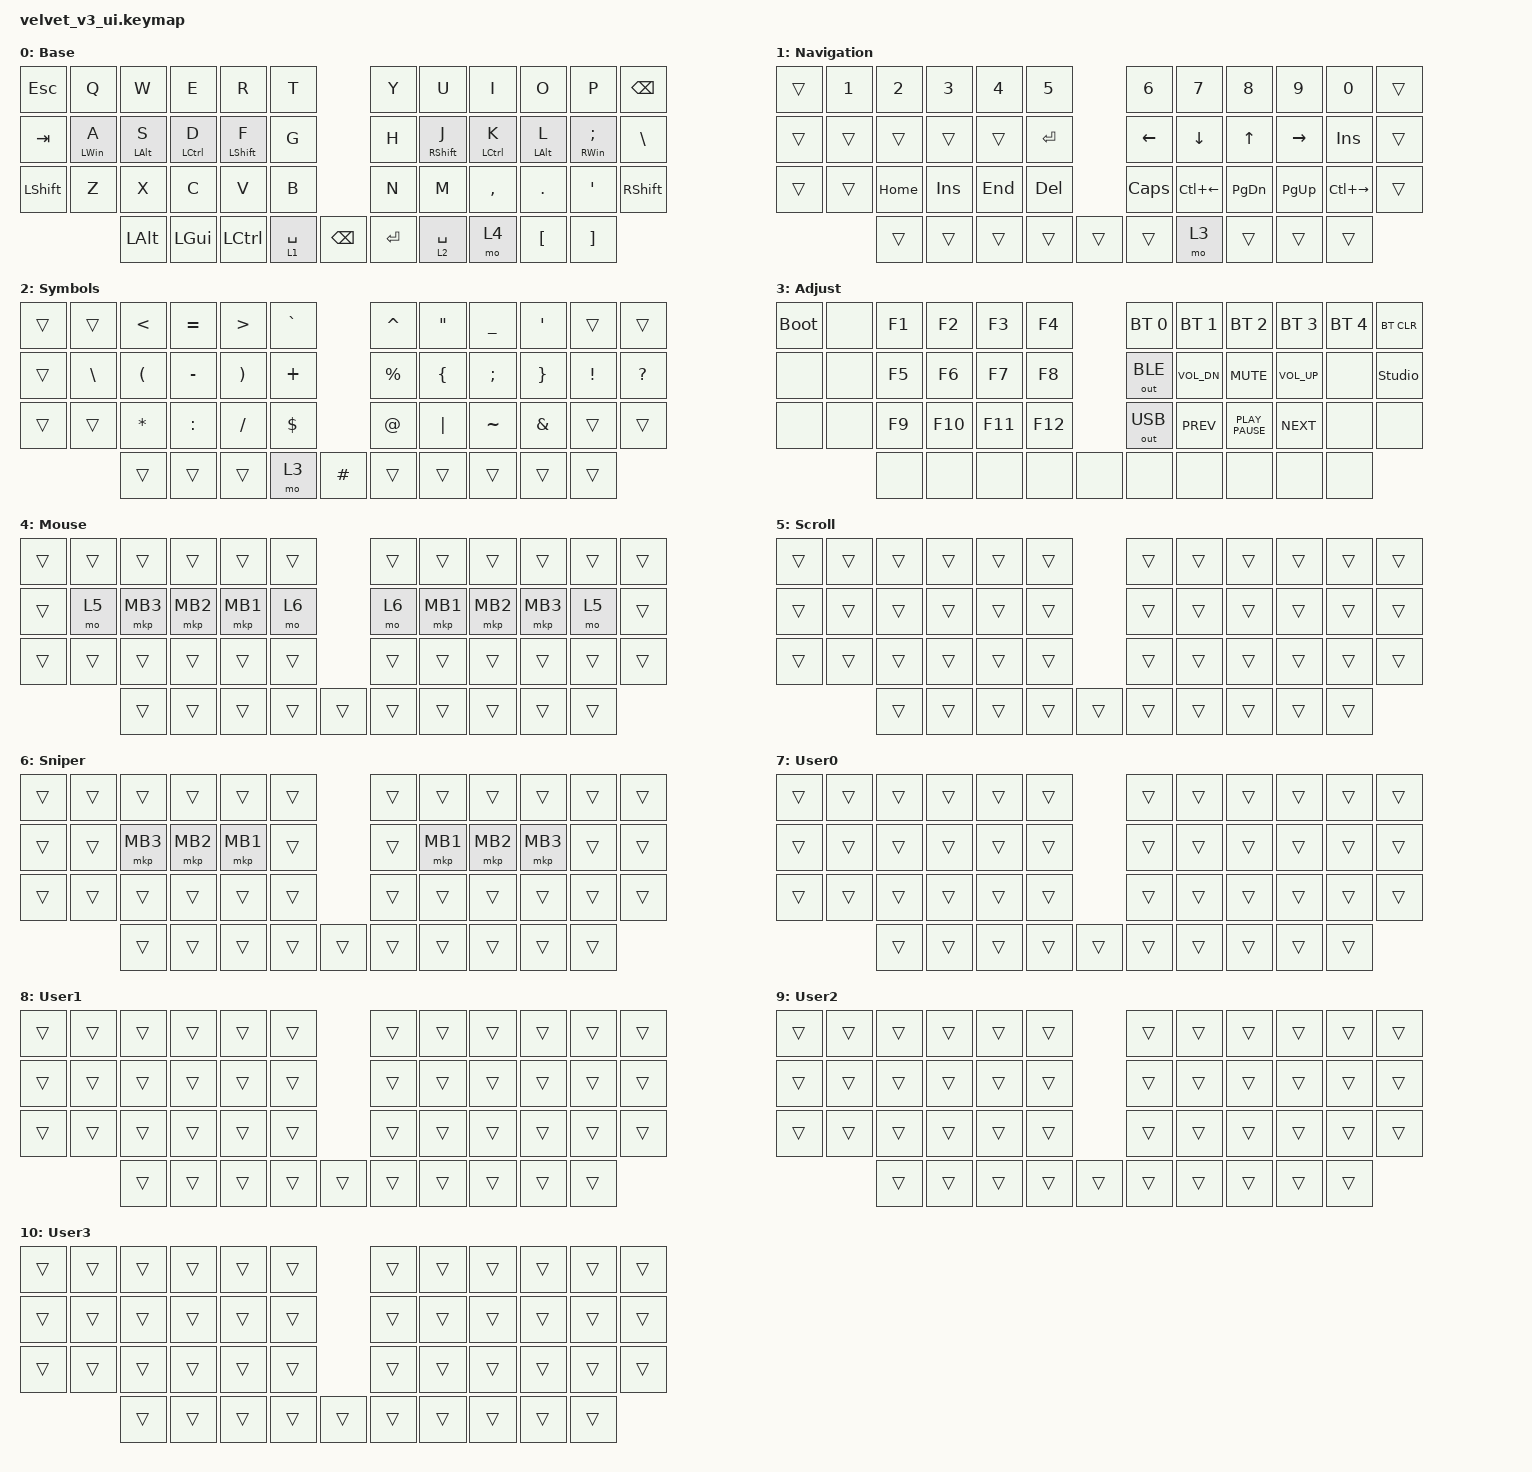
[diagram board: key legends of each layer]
#include "keys_ru.h"
#include <dt-bindings/zmk/input_transform.h>
#include <input/processors.dtsi>
#include <zephyr/dt-bindings/input/input-event-codes.h>
#include <behaviors.dtsi>
#include <dt-bindings/zmk/bt.h>
#include <dt-bindings/zmk/keys.h>
#include <dt-bindings/zmk/outputs.h>
#include <dt-bindings/zmk/pointing.h>

/ {
    behaviors {
        cap_sen: cap_sen {
            compatible = "zmk,behavior-hold-tap";
            label = "CAP_SEN";
            bindings = <&mo>, <&mkp>;

            #binding-cells = <2>;
            tapping-term-ms = <150>;
            hold-while-undecided;
        };

        hml: home_row_mod_left {
            compatible = "zmk,behavior-hold-tap";
            label = "HML";
            bindings = <&kp>, <&kp>;

            #binding-cells = <2>;
            tapping-term-ms = <280>;
            quick-tap-ms = <175>;
            require-prior-idle-ms = <150>;
            flavor = "balanced";
            hold-trigger-key-positions = <6 8 7 19 18 30 31 32 20 44 45 33 21 9 10 22 34 35 23 11 41 42 43>;
            hold-trigger-on-release;
        };

        hmr: home_row_mod_right {
            compatible = "zmk,behavior-hold-tap";
            label = "HMR";
            bindings = <&kp>, <&kp>;

            #binding-cells = <2>;
            tapping-term-ms = <280>;
            quick-tap-ms = <175>;
            require-prior-idle-ms = <150>;
            flavor = "balanced";
            hold-trigger-on-release;
            hold-trigger-key-positions = <0 13 12 24 25 0 1 12 13 14 24 25 26 0 1 2 3 4 5 12 13 14 15 16 17 24 25 26 27 28 29 36 37 38 39 40>;
        };
    };

    keymap {
        compatible = "zmk,keymap";

        Base {
            bindings = <
&kp ESC    &kp Q            &kp W             &kp E           &kp R                 &kp T                                   &kp Y          &kp U               &kp I           &kp O           &kp P                   &kp BSPC
&kp TAB    &hml LEFT_WIN A  &hml LEFT_ALT S   &hml LCTRL D    &hml LEFT_SHIFT F     &kp G                                   &kp H          &hmr RIGHT_SHIFT J  &hmr LCTRL K    &hmr LEFT_ALT L &hmr RIGHT_WIN  SEMI    &kp BSLH
&kp LSHFT  &kp Z            &kp X             &kp C           &kp V                 &kp B                                   &kp N          &kp M               &kp COMMA       &kp DOT         &kp SQT                 &kp RSHFT
                            &kp LALT          &kp LGUI        &kp LCTRL             &lt 1 SPACE  &kp BACKSPACE      &kp RET &lt 2 SPACE    &mo 4               &kp LBKT        &kp RBKT
            >;

            display-name = "Base";
        };

        Navigation {
            bindings = <
&trans  &kp N1  &kp N2    &kp N3   &kp N4   &kp N5                     &kp N6          &kp N7        &kp N8         &kp N9       &kp N0         &trans
&trans  &trans  &trans    &trans   &trans   &kp RET                    &kp LEFT_ARROW  &kp DOWN      &kp UP_ARROW   &kp RIGHT    &kp INSERT     &trans
&trans  &trans  &kp HOME  &kp INS  &kp END  &kp DEL                    &kp CLCK        &kp LC(LEFT)  &kp PAGE_DOWN  &kp PAGE_UP  &kp LC(RIGHT)  &trans
                &trans    &trans   &trans   &trans   &trans    &trans  &mo 3           &trans        &trans         &trans
            >;

            display-name = "Navigation";
        };

        Symbols {
            bindings = <
&trans  &trans    &kp LT    &kp EQUAL  &kp GT    &kp GRAVE                      &kp CARET  &kp DQT   &kp UNDER  &kp SQT   &trans    &trans
&trans  &kp BSLH  &kp LPAR  &kp MINUS  &kp RPAR  &kp PLUS                       &kp PRCNT  &kp LBRC  &kp SEMI   &kp RBRC  &kp EXCL  &kp QUESTION
&trans  &trans    &kp STAR  &kp COLON  &kp FSLH  &kp DLLR                       &kp AT     &kp PIPE  &kp TILDE  &kp AMPS  &trans    &trans
                  &trans    &trans     &trans    &mo 3      &kp HASH    &trans  &trans     &trans    &trans     &trans
            >;

            display-name = "Symbols";
        };

        Adjust {
            bindings = <
&bootloader  &none  &kp F1  &kp F2   &kp F3   &kp F4                   &bt BT_SEL 0  &bt BT_SEL 1  &bt BT_SEL 2      &bt BT_SEL 3  &bt BT_SEL 4  &bt BT_CLR
&none        &none  &kp F5  &kp F6   &kp F7   &kp F8                   &out OUT_BLE  &kp C_VOL_DN  &kp K_MUTE        &kp C_VOL_UP  &none         &studio_unlock
&none        &none  &kp F9  &kp F10  &kp F11  &kp F12                  &out OUT_USB  &kp K_PREV    &kp K_PLAY_PAUSE  &kp K_NEXT    &none         &none
                    &none   &none    &none    &none    &none    &none  &none         &none         &none             &none
            >;

            display-name = "Adjust";
        };

        Mouse {
            bindings = <
&trans  &trans  &trans    &trans    &trans    &trans                    &trans  &trans    &trans    &trans    &trans  &trans
&trans  &mo 5   &mkp MB3  &mkp MB2  &mkp MB1  &mo 6                     &mo 6   &mkp MB1  &mkp MB2  &mkp MB3  &mo 5   &trans
&trans  &trans  &trans    &trans    &trans    &trans                    &trans  &trans    &trans    &trans    &trans  &trans
                &trans    &trans    &trans    &trans  &trans    &trans  &trans  &trans    &trans    &trans
            >;
        };

        Scroll {
            bindings = <
&trans  &trans  &trans  &trans  &trans  &trans                    &trans  &trans  &trans  &trans  &trans  &trans
&trans  &trans  &trans  &trans  &trans  &trans                    &trans  &trans  &trans  &trans  &trans  &trans
&trans  &trans  &trans  &trans  &trans  &trans                    &trans  &trans  &trans  &trans  &trans  &trans
                &trans  &trans  &trans  &trans  &trans    &trans  &trans  &trans  &trans  &trans
            >;
        };

        Sniper {
            bindings = <
&trans  &trans  &trans    &trans    &trans    &trans                    &trans  &trans    &trans    &trans    &trans  &trans
&trans  &trans  &mkp MB3  &mkp MB2  &mkp MB1  &trans                    &trans  &mkp MB1  &mkp MB2  &mkp MB3  &trans  &trans
&trans  &trans  &trans    &trans    &trans    &trans                    &trans  &trans    &trans    &trans    &trans  &trans
                &trans    &trans    &trans    &trans  &trans    &trans  &trans  &trans    &trans    &trans
            >;
        };

        User0 {
            bindings = <
&trans  &trans  &trans  &trans  &trans  &trans                    &trans  &trans  &trans  &trans  &trans  &trans
&trans  &trans  &trans  &trans  &trans  &trans                    &trans  &trans  &trans  &trans  &trans  &trans
&trans  &trans  &trans  &trans  &trans  &trans                    &trans  &trans  &trans  &trans  &trans  &trans
                &trans  &trans  &trans  &trans  &trans    &trans  &trans  &trans  &trans  &trans
            >;

            display-name = "User0";
        };

        User1 {
            bindings = <
&trans  &trans  &trans  &trans  &trans  &trans                    &trans  &trans  &trans  &trans  &trans  &trans
&trans  &trans  &trans  &trans  &trans  &trans                    &trans  &trans  &trans  &trans  &trans  &trans
&trans  &trans  &trans  &trans  &trans  &trans                    &trans  &trans  &trans  &trans  &trans  &trans
                &trans  &trans  &trans  &trans  &trans    &trans  &trans  &trans  &trans  &trans
            >;

            display-name = "User1";
        };

        User2 {
            bindings = <
&trans  &trans  &trans  &trans  &trans  &trans                    &trans  &trans  &trans  &trans  &trans  &trans
&trans  &trans  &trans  &trans  &trans  &trans                    &trans  &trans  &trans  &trans  &trans  &trans
&trans  &trans  &trans  &trans  &trans  &trans                    &trans  &trans  &trans  &trans  &trans  &trans
                &trans  &trans  &trans  &trans  &trans    &trans  &trans  &trans  &trans  &trans
            >;

            display-name = "User2";
        };

        User3 {
            bindings = <
&trans  &trans  &trans  &trans  &trans  &trans                    &trans  &trans  &trans  &trans  &trans  &trans
&trans  &trans  &trans  &trans  &trans  &trans                    &trans  &trans  &trans  &trans  &trans  &trans
&trans  &trans  &trans  &trans  &trans  &trans                    &trans  &trans  &trans  &trans  &trans  &trans
                &trans  &trans  &trans  &trans  &trans    &trans  &trans  &trans  &trans  &trans
            >;

            display-name = "User3";
        };
    };
};

&trackball { cpi = <1000>; };

&trackball_listener {
    input-processors = <&zip_xy_scaler 9 20>;

    scroller {
        layers = <5>;
        input-processors =
            <&zip_xy_transform INPUT_TRANSFORM_Y_INVERT>,
            <&zip_xy_scaler 1 32>,
            <&zip_xy_to_scroll_mapper>;
    };

    sniper {
        layers = <6>;
        input-processors = <&zip_xy_scaler 1 4>;
    };
};
